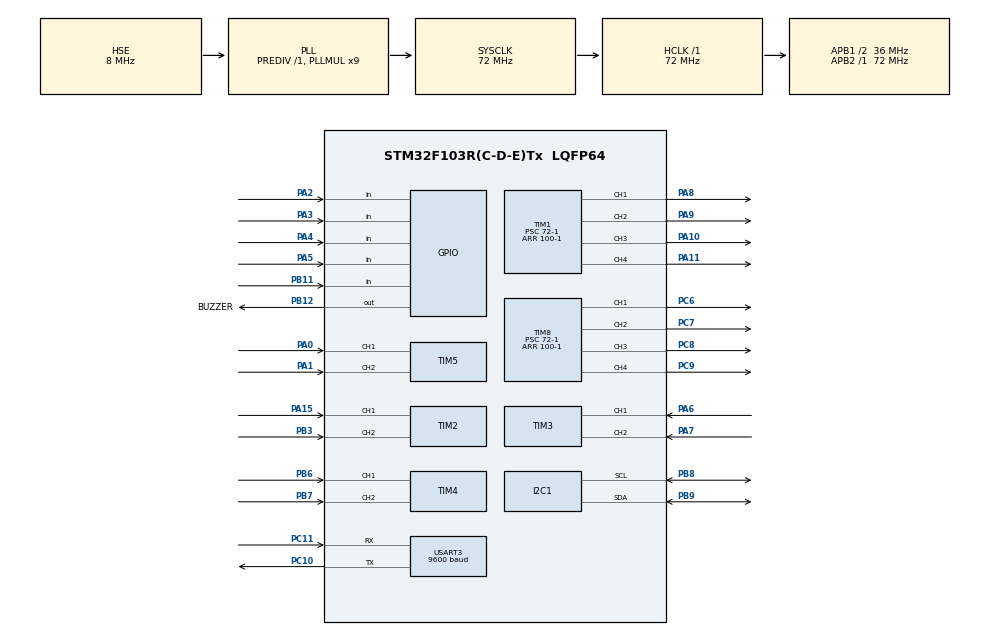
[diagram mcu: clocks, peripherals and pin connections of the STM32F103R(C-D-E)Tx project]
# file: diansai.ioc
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Dma.Request0=USART3_RX
Dma.Request1=USART3_TX
Dma.USART3_RX.0.Direction=DMA_PERIPH_TO_MEMORY
Dma.USART3_RX.0.Instance=DMA1_Channel3
Dma.USART3_RX.0.MemDataAlignment=DMA_MDATAALIGN_BYTE
Dma.USART3_RX.0.MemInc=DMA_MINC_ENABLE
Dma.USART3_RX.0.Mode=DMA_NORMAL
Dma.USART3_RX.0.PeriphDataAlignment=DMA_PDATAALIGN_BYTE
Dma.USART3_RX.0.PeriphInc=DMA_PINC_DISABLE
Dma.USART3_RX.0.Priority=DMA_PRIORITY_LOW
Dma.USART3_TX.1.Direction=DMA_MEMORY_TO_PERIPH
Dma.USART3_TX.1.Instance=DMA1_Channel2
Dma.USART3_TX.1.MemDataAlignment=DMA_MDATAALIGN_BYTE
Dma.USART3_TX.1.MemInc=DMA_MINC_ENABLE
Dma.USART3_TX.1.Mode=DMA_NORMAL
Dma.USART3_TX.1.PeriphDataAlignment=DMA_PDATAALIGN_BYTE
Dma.USART3_TX.1.PeriphInc=DMA_PINC_DISABLE
Dma.USART3_TX.1.Priority=DMA_PRIORITY_LOW
FREERTOS.Tasks01=defaultTask,24,128,StartDefaultTask,Default,NULL,Dynamic,NULL,NULL;LineWalking_Tas,24,256,StartTask02,Default,NULL,Dynamic,NULL,NULL;BUZZER_TASK,8,256,StartTask03,Default,NULL,Dynamic,NULL,NULL
FREERTOS.Timers01=EncoderTimer,EncoderTimerCallback,osTimerPeriodic,Default,NULL,Dynamic,NULL
Mcu.Family=STM32F1
Mcu.Name=STM32F103R(C-D-E)Tx
Mcu.Package=LQFP64
NVIC.DMA1_Channel2_IRQn=true\:5\:0\:false\:false\:true\:true\:false\:true\:true
NVIC.DMA1_Channel3_IRQn=true\:5\:0\:false\:false\:true\:true\:false\:true\:true
NVIC.PriorityGroup=NVIC_PRIORITYGROUP_4
NVIC.TIM7_IRQn=true\:15\:0\:false\:false\:true\:false\:false\:true\:true
NVIC.TimeBase=TIM7_IRQn
NVIC.TimeBaseIP=TIM7
NVIC.USART3_IRQn=true\:5\:0\:false\:false\:true\:true\:true\:true\:true
PA0-WKUP.Signal=S_TIM5_CH1
PA1.Signal=S_TIM5_CH2
PA10.Signal=S_TIM1_CH3
PA11.Signal=S_TIM1_CH4
PA13.Mode=Serial_Wire
PA13.Signal=SYS_JTMS-SWDIO
PA14.Mode=Serial_Wire
PA14.Signal=SYS_JTCK-SWCLK
PA15.Signal=S_TIM2_CH1_ETR
PA2.GPIO_PuPd=GPIO_PULLUP
PA2.Signal=GPIO_Input
PA3.GPIO_PuPd=GPIO_PULLUP
PA3.Signal=GPIO_Input
PA4.GPIO_PuPd=GPIO_PULLUP
PA4.Signal=GPIO_Input
PA5.GPIO_PuPd=GPIO_PULLUP
PA5.Signal=GPIO_Input
PA6.Signal=S_TIM3_CH1
PA7.Signal=S_TIM3_CH2
PA8.Signal=S_TIM1_CH1
PA9.Signal=S_TIM1_CH2
PB11.Signal=GPIO_Input
PB12.GPIO_Label=BUZZER
PB12.Signal=GPIO_Output
PB3.Signal=S_TIM2_CH2
PB6.Signal=S_TIM4_CH1
PB7.Signal=S_TIM4_CH2
PB8.Mode=I2C
PB8.Signal=I2C1_SCL
PB9.Mode=I2C
PB9.Signal=I2C1_SDA
PC10.Mode=Asynchronous
PC10.Signal=USART3_TX
PC11.Mode=Asynchronous
PC11.Signal=USART3_RX
PC6.Signal=S_TIM8_CH1
PC7.Signal=S_TIM8_CH2
PC8.Signal=S_TIM8_CH3
PC9.Signal=S_TIM8_CH4
PD0-OSC_IN.Mode=HSE-External-Oscillator
PD0-OSC_IN.Signal=RCC_OSC_IN
PD1-OSC_OUT.Mode=HSE-External-Oscillator
PD1-OSC_OUT.Signal=RCC_OSC_OUT
ProjectManager.HeapSize=0x200
ProjectManager.StackSize=0x400
ProjectManager.TargetToolchain=MDK-ARM V5.32
RCC.AHBFreq_Value=72000000
RCC.APB1CLKDivider=RCC_HCLK_DIV2
RCC.APB1Freq_Value=36000000
RCC.APB1TimFreq_Value=72000000
RCC.APB2Freq_Value=72000000
RCC.APB2TimFreq_Value=72000000
RCC.HCLKFreq_Value=72000000
RCC.PLLMUL=RCC_PLL_MUL9
RCC.PLLSourceVirtual=RCC_PLLSOURCE_HSE
RCC.SYSCLKFreq_VALUE=72000000
RCC.SYSCLKSource=RCC_SYSCLKSOURCE_PLLCLK
RCC.USBFreq_Value=72000000
SH.S_TIM1_CH1.0=TIM1_CH1,PWM Generation1 CH1
SH.S_TIM1_CH2.0=TIM1_CH2,PWM Generation2 CH2
SH.S_TIM1_CH3.0=TIM1_CH3,PWM Generation3 CH3
SH.S_TIM1_CH4.0=TIM1_CH4,PWM Generation4 CH4
SH.S_TIM2_CH1_ETR.0=TIM2_CH1,Encoder_Interface
SH.S_TIM2_CH2.0=TIM2_CH2,Encoder_Interface
SH.S_TIM3_CH1.0=TIM3_CH1,Encoder_Interface
SH.S_TIM3_CH2.0=TIM3_CH2,Encoder_Interface
SH.S_TIM4_CH1.0=TIM4_CH1,Encoder_Interface
SH.S_TIM4_CH2.0=TIM4_CH2,Encoder_Interface
SH.S_TIM5_CH1.0=TIM5_CH1,Encoder_Interface
SH.S_TIM5_CH2.0=TIM5_CH2,Encoder_Interface
SH.S_TIM8_CH1.0=TIM8_CH1,PWM Generation1 CH1
SH.S_TIM8_CH2.0=TIM8_CH2,PWM Generation2 CH2
SH.S_TIM8_CH3.0=TIM8_CH3,PWM Generation3 CH3
SH.S_TIM8_CH4.0=TIM8_CH4,PWM Generation4 CH4
TIM1.AutoReloadPreload=TIM_AUTORELOAD_PRELOAD_ENABLE
TIM1.AutomaticOutput=TIM_AUTOMATICOUTPUT_ENABLE
TIM1.Channel-PWM\ Generation1\ CH1=TIM_CHANNEL_1
TIM1.Channel-PWM\ Generation2\ CH2=TIM_CHANNEL_2
TIM1.Channel-PWM\ Generation3\ CH3=TIM_CHANNEL_3
TIM1.Channel-PWM\ Generation4\ CH4=TIM_CHANNEL_4
TIM1.Period=100-1
TIM1.Prescaler=72-1
TIM2.EncoderMode=TIM_ENCODERMODE_TI12
TIM2.IC1Filter=10
TIM2.IC2Filter=10
TIM3.EncoderMode=TIM_ENCODERMODE_TI12
TIM3.IC1Filter=10
TIM3.IC2Filter=10
TIM4.EncoderMode=TIM_ENCODERMODE_TI12
TIM4.IC1Filter=10
TIM4.IC2Filter=10
TIM5.EncoderMode=TIM_ENCODERMODE_TI12
TIM5.IC1Filter=10
TIM5.IC2Filter=10
TIM8.AutoReloadPreload=TIM_AUTORELOAD_PRELOAD_ENABLE
TIM8.AutomaticOutput=TIM_AUTOMATICOUTPUT_ENABLE
TIM8.Channel-PWM\ Generation1\ CH1=TIM_CHANNEL_1
TIM8.Channel-PWM\ Generation2\ CH2=TIM_CHANNEL_2
TIM8.Channel-PWM\ Generation3\ CH3=TIM_CHANNEL_3
TIM8.Channel-PWM\ Generation4\ CH4=TIM_CHANNEL_4
TIM8.Period=100-1
TIM8.Prescaler=72-1
USART3.BaudRate=9600
USART3.VirtualMode=VM_ASYNC
VP_FREERTOS_VS_CMSIS_V2.Mode=CMSIS_V2
VP_SYS_VS_tim7.Mode=TIM7
VP_TIM1_VS_ClockSourceINT.Mode=Internal
VP_TIM8_VS_ClockSourceINT.Mode=Internal
board=custom

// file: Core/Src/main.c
/* USER CODE BEGIN Header */
/**
  ******************************************************************************
  * @file           : main.c
  * @brief          : Main program body
  ******************************************************************************
  * @attention
  *
  * Copyright (c) 2026 STMicroelectronics.
  * All rights reserved.
  *
  * This software is licensed under terms that can be found in the LICENSE file
  * in the root directory of this software component.
  * If no LICENSE file comes with this software, it is provided AS-IS.
  *
  ******************************************************************************
  */
/* USER CODE END Header */
#include "main.h"
#include "cmsis_os.h"
#include "dma.h"
#include "i2c.h"
#include "tim.h"
#include "usart.h"
#include "gpio.h"

/* USER CODE BEGIN Includes */
#include "bsp_motor.h"
#include "bsp_encoder.h"
#include "blue.h"

/* USER CODE END Includes */

void SystemClock_Config(void);
void MX_FREERTOS_Init(void);

int main(void)
{

  /* MCU Configuration--------------------------------------------------------*/

  /* Reset of all peripherals, Initializes the Flash interface and the Systick. */
  HAL_Init();

  /* Configure the system clock */
  SystemClock_Config();

  /* Initialize all configured peripherals */
  MX_GPIO_Init();
  MX_DMA_Init();
  MX_TIM1_Init();
  MX_TIM8_Init();
  MX_TIM2_Init();
  MX_TIM3_Init();
  MX_TIM4_Init();
  MX_TIM5_Init();
  MX_I2C1_Init();
  MX_USART3_UART_Init();
  /* USER CODE BEGIN 2 */
  Motor_PWM_Init();
  Encoder_Init();
  /* USER CODE END 2 */

  /* Init scheduler */
  osKernelInitialize();  /* Call init function for freertos objects (in cmsis_os2.c) */
  MX_FREERTOS_Init();

  /* Start scheduler */
  osKernelStart();

  /* We should never get here as control is now taken by the scheduler */

  /* Infinite loop */
  while (1)
  {

  }
}

void SystemClock_Config(void)
{
  RCC_OscInitTypeDef RCC_OscInitStruct = {0};
  RCC_ClkInitTypeDef RCC_ClkInitStruct = {0};

  /** Initializes the RCC Oscillators according to the specified parameters
  * in the RCC_OscInitTypeDef structure.
  */
  RCC_OscInitStruct.OscillatorType = RCC_OSCILLATORTYPE_HSE;
  RCC_OscInitStruct.HSEState = RCC_HSE_ON;
  RCC_OscInitStruct.HSEPredivValue = RCC_HSE_PREDIV_DIV1;
  RCC_OscInitStruct.HSIState = RCC_HSI_ON;
  RCC_OscInitStruct.PLL.PLLState = RCC_PLL_ON;
  RCC_OscInitStruct.PLL.PLLSource = RCC_PLLSOURCE_HSE;
  RCC_OscInitStruct.PLL.PLLMUL = RCC_PLL_MUL9;
  if (HAL_RCC_OscConfig(&RCC_OscInitStruct) != HAL_OK)
  {
    Error_Handler();
  }

  /** Initializes the CPU, AHB and APB buses clocks
  */
  RCC_ClkInitStruct.ClockType = RCC_CLOCKTYPE_HCLK|RCC_CLOCKTYPE_SYSCLK
                              |RCC_CLOCKTYPE_PCLK1|RCC_CLOCKTYPE_PCLK2;
  RCC_ClkInitStruct.SYSCLKSource = RCC_SYSCLKSOURCE_PLLCLK;
  RCC_ClkInitStruct.AHBCLKDivider = RCC_SYSCLK_DIV1;
  RCC_ClkInitStruct.APB1CLKDivider = RCC_HCLK_DIV2;
  RCC_ClkInitStruct.APB2CLKDivider = RCC_HCLK_DIV1;

  if (HAL_RCC_ClockConfig(&RCC_ClkInitStruct, FLASH_LATENCY_2) != HAL_OK)
  {
    Error_Handler();
  }
}

void HAL_TIM_PeriodElapsedCallback(TIM_HandleTypeDef *htim)
{
  if (htim->Instance == TIM7)
  {
    HAL_IncTick();
  }
}

void Error_Handler(void)
{
  __disable_irq();
  while (1)
  {
  }
}

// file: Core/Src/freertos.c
/* USER CODE BEGIN Header */
/**
  ******************************************************************************
  * File Name          : freertos.c
  * Description        : Code for freertos applications
  ******************************************************************************
  * @attention
  *
  * Copyright (c) 2026 STMicroelectronics.
  * All rights reserved.
  *
  * This software is licensed under terms that can be found in the LICENSE file
  * in the root directory of this software component.
  * If no LICENSE file comes with this software, it is provided AS-IS.
  *
  ******************************************************************************
  */
/* USER CODE END Header */

#include "FreeRTOS.h"
#include "task.h"
#include "main.h"
#include "cmsis_os.h"

/* USER CODE BEGIN Includes */
#include "bsp_motor.h"
#include "linewalking.h"
#include "LiquidCrystal_I2C.h"
#include "buzzer.h"
#include "blue.h"
#include <stdio.h>
/* USER CODE END Includes */

/* USER CODE BEGIN PTD */
LiquidCrystal_I2C lcd;
/* USER CODE END PTD */

/* Definitions for defaultTask */
osThreadId_t defaultTaskHandle;
const osThreadAttr_t defaultTask_attributes = {
  .name = "defaultTask",
  .stack_size = 128 * 4,
  .priority = (osPriority_t) osPriorityNormal,
};
/* Definitions for LineWalking_Tas */
osThreadId_t LineWalking_TasHandle;
const osThreadAttr_t LineWalking_Tas_attributes = {
  .name = "LineWalking_Tas",
  .stack_size = 256 * 4,
  .priority = (osPriority_t) osPriorityNormal,
};
/* Definitions for BUZZER_TASK */
osThreadId_t BUZZER_TASKHandle;
const osThreadAttr_t BUZZER_TASK_attributes = {
  .name = "BUZZER_TASK",
  .stack_size = 256 * 4,
  .priority = (osPriority_t) osPriorityLow,
};
/* Definitions for EncoderTimer */
osTimerId_t EncoderTimerHandle;
const osTimerAttr_t EncoderTimer_attributes = {
  .name = "EncoderTimer"
};

void StartDefaultTask(void *argument);
void StartTask02(void *argument);
void StartTask03(void *argument);
void EncoderTimerCallback(void *argument);

void MX_FREERTOS_Init(void); /* (MISRA C 2004 rule 8.1) */

void MX_FREERTOS_Init(void) {
  /* USER CODE BEGIN Init */
  LineWalking_Task_Init();
  Buzzer_Task_Init();
  BLUE_Init();
  /* USER CODE END Init */

  /* Create the timer(s) */
  /* creation of EncoderTimer */
  EncoderTimerHandle = osTimerNew(EncoderTimerCallback, osTimerPeriodic, NULL, &EncoderTimer_attributes);

  /* USER CODE BEGIN RTOS_TIMERS */
  /* start timers, add new ones, ... */
  osTimerStart(EncoderTimerHandle, 10);
  /* USER CODE END RTOS_TIMERS */

  /* Create the thread(s) */
  /* creation of defaultTask */
  defaultTaskHandle = osThreadNew(StartDefaultTask, NULL, &defaultTask_attributes);

  /* creation of LineWalking_Tas */
  LineWalking_TasHandle = osThreadNew(StartTask02, NULL, &LineWalking_Tas_attributes);

  /* creation of BUZZER_TASK */
  BUZZER_TASKHandle = osThreadNew(StartTask03, NULL, &BUZZER_TASK_attributes);

}

void StartDefaultTask(void *argument)
{
  /* USER CODE BEGIN StartDefaultTask */
  char buffer[32];

  LCD_Init(&lcd, 0x27, 16, 2);
  LCD_Backlight(&lcd);
  LCD_Clear(&lcd);
  //LCD_Print(&lcd, "+:ten l:left r:right");
  LCD_SetCursor(&lcd, 0, 1);
  //LCD_Print(&lcd, "time: all:");

  /* Infinite loop */
  for(;;)
  {
    BLUE_Process();

    //LCD_SetCursor(&lcd, 0, 0);
		//LCD_Print(&lcd, "                ");
    // ��һ�У�+:ten l:left r:right
    LCD_SetCursor(&lcd, 0, 0);
    sprintf(buffer,"+:%d Le:%d Ri:%d  ", crossroad_count, left_branch_count, right_branch_count);
    LCD_Print(&lcd, buffer);

    // �ڶ��У�time:debug_counter all:all
		all = left_branch_count + right_branch_count + crossroad_count;
    LCD_SetCursor(&lcd, 0, 1);

    sprintf(buffer,"time:%lu all:%d   ", debug_counter, all);
    LCD_Print(&lcd, buffer);

    osDelay(100);
  }
  /* USER CODE END StartDefaultTask */
}

void StartTask02(void *argument)
{
  for(;;)
  {
    osDelay(1);
  }
}

void StartTask03(void *argument)
{
  for(;;)
  {
    osDelay(1);
  }
}

/* EncoderTimerCallback function */
void EncoderTimerCallback(void *argument)
{
  /* USER CODE BEGIN EncoderTimerCallback */
Encoder_Update_Count();
  /* USER CODE END EncoderTimerCallback */
}
